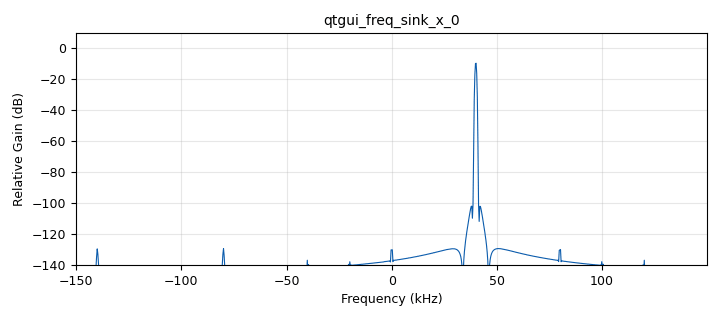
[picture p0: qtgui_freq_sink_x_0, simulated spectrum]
options:
  parameters:
    author: sten
    generate_options: qt_gui
    id: Labo_3
    output_language: python
    title: Oefening 5
  states: {}

blocks:
- name: freq1
  id: variable_qtgui_range
  parameters:
    start: 1e3
    step: '100'
    stop: 50e3
    value: 10e3
  states: {}
- name: freq2
  id: variable_qtgui_range
  parameters:
    start: 1e3
    step: '100'
    stop: 50e3
    value: 30e3
  states: {}
- name: samp_rate
  id: variable
  parameters:
    value: 300e3
  states: {}
- name: analog_sig_source_x_0
  id: analog_sig_source_x
  parameters:
    amp: '1'
    freq: freq1
    offset: '0'
    phase: '0'
    samp_rate: samp_rate
    type: complex
    waveform: analog.GR_COS_WAVE
  states: {}
- name: analog_sig_source_x_1
  id: analog_sig_source_x
  parameters:
    amp: '1'
    freq: freq2
    offset: '0'
    phase: '0'
    samp_rate: samp_rate
    type: complex
    waveform: analog.GR_COS_WAVE
  states: {}
- name: blocks_multiply_xx_0
  id: blocks_multiply_xx
  parameters:
    type: complex
  states: {}
- name: blocks_throttle_0
  id: blocks_throttle
  parameters:
    samples_per_second: samp_rate
    type: complex
  states: {}
- name: qtgui_freq_sink_x_0
  id: qtgui_freq_sink_x
  parameters:
    bw: samp_rate
    fc: '0'
    fftsize: '1024'
    freqhalf: 'False'
    type: complex
  states: {}

connections:
- [analog_sig_source_x_0, '0', blocks_multiply_xx_0, '0']
- [analog_sig_source_x_1, '0', blocks_multiply_xx_0, '1']
- [blocks_multiply_xx_0, '0', blocks_throttle_0, '0']
- [blocks_throttle_0, '0', qtgui_freq_sink_x_0, '0']

metadata:
  file_format: 1
